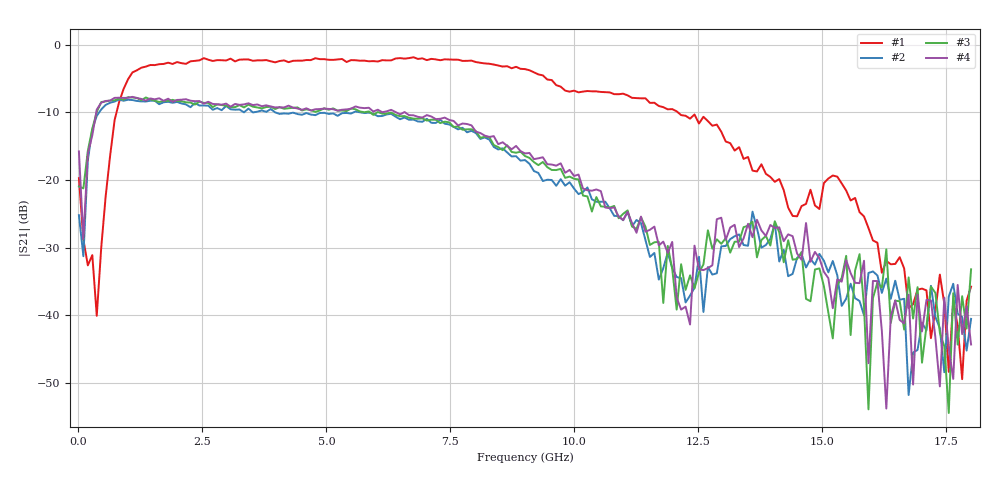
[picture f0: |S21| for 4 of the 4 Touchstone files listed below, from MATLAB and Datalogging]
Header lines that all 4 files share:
!Agilent Technologies,E8363B,SG43030126,A.07.50.67
!Agilent E8363B: A.07.50.67
!Correction: S11(Full 2 Port(1,2))
!S21(Full 2 Port(1,2))
!S12(Full 2 Port(1,2))
!S22(Full 2 Port(1,2))
!S2P File: Measurements: S11, S21, S12, S22:
# Hz S  dB  R 50
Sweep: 10 MHz to 18 GHz
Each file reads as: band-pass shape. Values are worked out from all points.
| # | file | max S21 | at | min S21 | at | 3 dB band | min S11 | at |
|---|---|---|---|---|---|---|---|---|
| 1 | ALS-04-0149 30dB Output Attenuator.s2p | -1.86 dB | 6.756 GHz | -49.4 dB | 17.82 GHz | 1.089 GHz-9.365 GHz | -24.5 dB | 5.677 GHz |
| 2 | ZX60-83LN-S+ (A), 30dB Output Attenuator.s2p | -8.10 dB | 819.5 MHz | -51.8 dB | 16.74 GHz | 369.8 MHz-6.756 GHz | -16.4 dB | 1.089 GHz |
| 3 | ZX60-83LN-S+ (B), 30dB Output Attenuator.s2p | -7.75 dB | 999.5 MHz | -54.4 dB | 17.55 GHz | 369.8 MHz-6.576 GHz | -22.5 dB | 1.089 GHz |
| 4 | ZX60-83LN-S+ (C), 30dB Output Attenuator.s2p | -7.71 dB | 1.089 GHz | -53.8 dB | 16.29 GHz | 369.8 MHz-6.846 GHz | -22.6 dB | 1.089 GHz |
